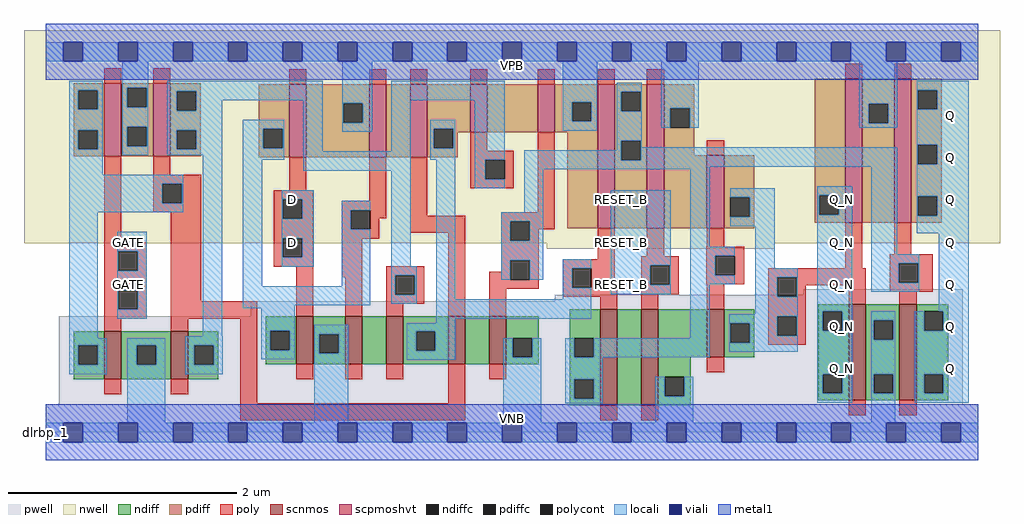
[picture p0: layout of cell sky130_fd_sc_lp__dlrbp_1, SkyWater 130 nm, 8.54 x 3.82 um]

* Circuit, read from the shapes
.subckt sky130_fd_sc_lp__dlrbp_1 D GATE RESET_B VGND VNB VPB VPWR Q Q_N
XM1 VGND GATE n1 VNB sky130_fd_pr__nfet_01v8 w=0.42 l=0.15
XM2 n2 n1 VGND VNB sky130_fd_pr__nfet_01v8 w=0.42 l=0.15
XM3 VGND D n3 VNB sky130_fd_pr__nfet_01v8 w=0.42 l=0.15
XM4 n4 n3 VGND VNB sky130_fd_pr__nfet_01v8 w=0.42 l=0.15
XM5 n5 n2 n4 VNB sky130_fd_pr__nfet_01v8 w=0.42 l=0.15
XM6 n6 n1 n5 VNB sky130_fd_pr__nfet_01v8 w=0.42 l=0.15
XM7 VGND n7 n6 VNB sky130_fd_pr__nfet_01v8 w=0.42 l=0.15
XM8 n8 n5 n7 VNB sky130_fd_pr__nfet_01v8 w=0.84 l=0.15
XM9 VGND RESET_B n8 VNB sky130_fd_pr__nfet_01v8 w=0.84 l=0.15
XM10 n9 n7 VGND VNB sky130_fd_pr__nfet_01v8 w=0.42 l=0.15
XM11 VGND n9 Q_N VNB sky130_fd_pr__nfet_01v8 w=0.84 l=0.15
XM12 Q n7 VGND VNB sky130_fd_pr__nfet_01v8 w=0.84 l=0.15
XM13 VPWR GATE n1 VPB sky130_fd_pr__pfet_01v8_hvt w=0.64 l=0.15
XM14 n2 n1 VPWR VPB sky130_fd_pr__pfet_01v8_hvt w=0.64 l=0.15
XM15 VPWR D n3 VPB sky130_fd_pr__pfet_01v8_hvt w=0.64 l=0.15
XM16 n10 n3 VPWR VPB sky130_fd_pr__pfet_01v8_hvt w=0.64 l=0.15
XM17 n5 n1 n10 VPB sky130_fd_pr__pfet_01v8_hvt w=0.64 l=0.15
XM18 n11 n2 n5 VPB sky130_fd_pr__pfet_01v8_hvt w=0.42 l=0.15
XM19 VPWR n7 n11 VPB sky130_fd_pr__pfet_01v8_hvt w=0.42 l=0.15
XM20 n7 n5 VPWR VPB sky130_fd_pr__pfet_01v8_hvt w=1.26 l=0.15
XM21 VPWR RESET_B n7 VPB sky130_fd_pr__pfet_01v8_hvt w=1.26 l=0.15
XM22 n9 n7 VPWR VPB sky130_fd_pr__pfet_01v8_hvt w=0.64 l=0.15
XM23 VPWR n9 Q_N VPB sky130_fd_pr__pfet_01v8_hvt w=1.26 l=0.15
XM24 Q n7 VPWR VPB sky130_fd_pr__pfet_01v8_hvt w=1.26 l=0.15
.ends

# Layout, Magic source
magic
tech sky130A
magscale 1 2
<< nwell >>
rect -38 331 1670 704
rect 877 321 1276 331
<< pwell >>
rect 1326 241 1605 250
rect 891 229 1605 241
rect 359 203 1605 229
rect 23 49 1605 203
rect 0 0 1632 49
<< scnmos >>
rect 102 93 132 177
rect 219 93 249 177
rect 438 119 468 203
rect 524 119 554 203
rect 596 119 626 203
rect 704 119 734 203
rect 776 119 806 203
rect 970 47 1000 215
rect 1042 47 1072 215
rect 1157 131 1187 215
rect 1405 56 1435 224
rect 1494 56 1524 224
<< scpmoshvt >>
rect 102 483 132 611
rect 188 483 218 611
rect 426 481 456 609
rect 566 481 596 609
rect 638 481 668 609
rect 743 525 773 609
rect 861 525 891 609
rect 966 357 996 609
rect 1052 357 1082 609
rect 1157 357 1187 485
rect 1399 367 1429 619
rect 1485 367 1515 619
<< ndiff >>
rect 49 152 102 177
rect 49 118 57 152
rect 91 118 102 152
rect 49 93 102 118
rect 132 152 219 177
rect 132 118 159 152
rect 193 118 219 152
rect 132 93 219 118
rect 249 152 302 177
rect 249 118 260 152
rect 294 118 302 152
rect 249 93 302 118
rect 385 178 438 203
rect 385 144 393 178
rect 427 144 438 178
rect 385 119 438 144
rect 468 172 524 203
rect 468 138 479 172
rect 513 138 524 172
rect 468 119 524 138
rect 554 119 596 203
rect 626 177 704 203
rect 626 143 648 177
rect 682 143 704 177
rect 626 119 704 143
rect 734 119 776 203
rect 806 165 863 203
rect 806 131 817 165
rect 851 131 863 165
rect 806 119 863 131
rect 917 165 970 215
rect 917 131 925 165
rect 959 131 970 165
rect 917 93 970 131
rect 917 59 925 93
rect 959 59 970 93
rect 917 47 970 59
rect 1000 47 1042 215
rect 1072 131 1157 215
rect 1187 191 1240 215
rect 1187 157 1198 191
rect 1232 157 1240 191
rect 1187 131 1240 157
rect 1352 212 1405 224
rect 1352 178 1360 212
rect 1394 178 1405 212
rect 1072 97 1129 131
rect 1072 63 1083 97
rect 1117 63 1129 97
rect 1072 47 1129 63
rect 1352 102 1405 178
rect 1352 68 1360 102
rect 1394 68 1405 102
rect 1352 56 1405 68
rect 1435 196 1494 224
rect 1435 162 1449 196
rect 1483 162 1494 196
rect 1435 102 1494 162
rect 1435 68 1449 102
rect 1483 68 1494 102
rect 1435 56 1494 68
rect 1524 212 1579 224
rect 1524 178 1537 212
rect 1571 178 1579 212
rect 1524 102 1579 178
rect 1524 68 1537 102
rect 1571 68 1579 102
rect 1524 56 1579 68
<< pdiff >>
rect 49 599 102 611
rect 49 565 57 599
rect 91 565 102 599
rect 49 529 102 565
rect 49 495 57 529
rect 91 495 102 529
rect 49 483 102 495
rect 132 603 188 611
rect 132 569 143 603
rect 177 569 188 603
rect 132 535 188 569
rect 132 501 143 535
rect 177 501 188 535
rect 132 483 188 501
rect 218 597 271 611
rect 218 563 229 597
rect 263 563 271 597
rect 218 529 271 563
rect 218 495 229 529
rect 263 495 271 529
rect 218 483 271 495
rect 373 531 426 609
rect 373 497 381 531
rect 415 497 426 531
rect 373 481 426 497
rect 456 576 566 609
rect 456 542 521 576
rect 555 542 566 576
rect 456 481 566 542
rect 596 481 638 609
rect 668 531 743 609
rect 668 497 679 531
rect 713 525 743 531
rect 773 525 861 609
rect 891 578 966 609
rect 891 544 921 578
rect 955 544 966 578
rect 891 525 966 544
rect 713 497 721 525
rect 668 481 721 497
rect 913 357 966 525
rect 996 596 1052 609
rect 996 562 1007 596
rect 1041 562 1052 596
rect 996 510 1052 562
rect 996 476 1007 510
rect 1041 476 1052 510
rect 996 357 1052 476
rect 1082 567 1135 609
rect 1082 533 1093 567
rect 1127 533 1135 567
rect 1082 485 1135 533
rect 1082 357 1157 485
rect 1187 411 1240 485
rect 1187 377 1198 411
rect 1232 377 1240 411
rect 1187 357 1240 377
rect 1346 415 1399 619
rect 1346 381 1354 415
rect 1388 381 1399 415
rect 1346 367 1399 381
rect 1429 575 1485 619
rect 1429 541 1440 575
rect 1474 541 1485 575
rect 1429 367 1485 541
rect 1515 599 1568 619
rect 1515 565 1526 599
rect 1560 565 1568 599
rect 1515 503 1568 565
rect 1515 469 1526 503
rect 1560 469 1568 503
rect 1515 413 1568 469
rect 1515 379 1526 413
rect 1560 379 1568 413
rect 1515 367 1568 379
<< ndiffc >>
rect 57 118 91 152
rect 159 118 193 152
rect 260 118 294 152
rect 393 144 427 178
rect 479 138 513 172
rect 648 143 682 177
rect 817 131 851 165
rect 925 131 959 165
rect 925 59 959 93
rect 1198 157 1232 191
rect 1360 178 1394 212
rect 1083 63 1117 97
rect 1360 68 1394 102
rect 1449 162 1483 196
rect 1449 68 1483 102
rect 1537 178 1571 212
rect 1537 68 1571 102
<< pdiffc >>
rect 57 565 91 599
rect 57 495 91 529
rect 143 569 177 603
rect 143 501 177 535
rect 229 563 263 597
rect 229 495 263 529
rect 381 497 415 531
rect 521 542 555 576
rect 679 497 713 531
rect 921 544 955 578
rect 1007 562 1041 596
rect 1007 476 1041 510
rect 1093 533 1127 567
rect 1198 377 1232 411
rect 1354 381 1388 415
rect 1440 541 1474 575
rect 1526 565 1560 599
rect 1526 469 1560 503
rect 1526 379 1560 413
<< poly >>
rect 102 611 132 637
rect 188 611 218 637
rect 426 609 456 635
rect 566 609 596 635
rect 638 609 668 635
rect 743 609 773 635
rect 861 609 891 635
rect 966 609 996 635
rect 1052 609 1082 635
rect 1399 619 1429 645
rect 1485 619 1515 645
rect 102 333 132 483
rect 188 451 218 483
rect 743 493 773 525
rect 188 435 272 451
rect 188 401 204 435
rect 238 401 272 435
rect 426 424 456 481
rect 188 385 272 401
rect 102 317 177 333
rect 102 283 127 317
rect 161 283 177 317
rect 102 249 177 283
rect 102 215 127 249
rect 161 215 177 249
rect 102 199 177 215
rect 219 229 272 385
rect 399 408 468 424
rect 399 374 415 408
rect 449 374 468 408
rect 566 405 596 481
rect 399 340 468 374
rect 399 306 415 340
rect 449 306 468 340
rect 399 290 468 306
rect 219 199 370 229
rect 438 203 468 290
rect 518 389 596 405
rect 518 355 534 389
rect 568 375 596 389
rect 638 379 668 481
rect 743 477 819 493
rect 743 443 769 477
rect 803 443 819 477
rect 743 427 819 443
rect 861 385 891 525
rect 568 355 584 375
rect 518 339 584 355
rect 638 349 734 379
rect 518 271 554 339
rect 524 203 554 271
rect 596 275 662 291
rect 596 241 612 275
rect 646 241 662 275
rect 596 225 662 241
rect 596 203 626 225
rect 704 203 734 349
rect 797 369 891 385
rect 797 335 813 369
rect 847 355 891 369
rect 1157 485 1187 511
rect 847 335 863 355
rect 797 301 863 335
rect 966 303 996 357
rect 1052 308 1082 357
rect 1157 325 1187 357
rect 1156 309 1222 325
rect 797 281 813 301
rect 776 267 813 281
rect 847 267 863 301
rect 776 251 863 267
rect 905 287 996 303
rect 905 253 921 287
rect 955 267 996 287
rect 1042 292 1108 308
rect 955 253 1000 267
rect 776 203 806 251
rect 905 237 1000 253
rect 970 215 1000 237
rect 1042 258 1058 292
rect 1092 258 1108 292
rect 1156 275 1172 309
rect 1206 275 1222 309
rect 1399 287 1429 367
rect 1485 312 1515 367
rect 1477 296 1552 312
rect 1156 259 1222 275
rect 1264 271 1435 287
rect 1042 242 1108 258
rect 1042 215 1072 242
rect 1157 215 1187 259
rect 1264 237 1280 271
rect 1314 257 1435 271
rect 1314 237 1330 257
rect 102 177 132 199
rect 219 177 249 199
rect 102 67 132 93
rect 219 67 249 93
rect 340 51 370 199
rect 438 93 468 119
rect 524 93 554 119
rect 596 93 626 119
rect 704 51 734 119
rect 776 93 806 119
rect 340 21 734 51
rect 1264 203 1330 237
rect 1405 224 1435 257
rect 1477 262 1493 296
rect 1527 262 1552 296
rect 1477 246 1552 262
rect 1494 224 1524 246
rect 1264 169 1280 203
rect 1314 169 1330 203
rect 1264 153 1330 169
rect 1157 105 1187 131
rect 970 21 1000 47
rect 1042 21 1072 47
rect 1405 30 1435 56
rect 1494 30 1524 56
<< polycont >>
rect 204 401 238 435
rect 127 283 161 317
rect 127 215 161 249
rect 415 374 449 408
rect 415 306 449 340
rect 534 355 568 389
rect 769 443 803 477
rect 612 241 646 275
rect 813 335 847 369
rect 813 267 847 301
rect 921 253 955 287
rect 1058 258 1092 292
rect 1172 275 1206 309
rect 1280 237 1314 271
rect 1493 262 1527 296
rect 1280 169 1314 203
<< locali >>
rect 0 649 31 683
rect 65 649 127 683
rect 161 649 223 683
rect 257 649 319 683
rect 353 649 415 683
rect 449 649 511 683
rect 545 649 607 683
rect 641 649 703 683
rect 737 649 799 683
rect 833 649 895 683
rect 929 649 991 683
rect 1025 649 1087 683
rect 1121 649 1183 683
rect 1217 649 1279 683
rect 1313 649 1375 683
rect 1409 649 1471 683
rect 1505 649 1567 683
rect 1601 649 1632 683
rect 41 599 100 615
rect 41 565 57 599
rect 91 565 100 599
rect 41 529 100 565
rect 41 495 57 529
rect 91 495 100 529
rect 41 451 100 495
rect 134 603 179 649
rect 134 569 143 603
rect 177 569 179 603
rect 134 535 179 569
rect 134 501 143 535
rect 177 501 179 535
rect 134 485 179 501
rect 213 597 485 615
rect 213 563 229 597
rect 263 581 485 597
rect 263 563 309 581
rect 213 529 309 563
rect 213 495 229 529
rect 263 495 309 529
rect 213 485 309 495
rect 41 435 241 451
rect 41 401 204 435
rect 238 401 241 435
rect 41 385 241 401
rect 41 165 91 385
rect 125 317 177 351
rect 125 283 127 317
rect 161 283 177 317
rect 125 249 177 283
rect 125 215 127 249
rect 161 215 177 249
rect 125 199 177 215
rect 275 168 309 485
rect 345 531 417 547
rect 345 497 381 531
rect 415 497 417 531
rect 345 477 417 497
rect 451 492 485 581
rect 519 576 571 649
rect 519 542 521 576
rect 555 542 571 576
rect 519 526 571 542
rect 605 581 803 615
rect 605 492 639 581
rect 345 256 379 477
rect 451 458 639 492
rect 673 531 717 547
rect 673 497 679 531
rect 713 497 717 531
rect 673 477 717 497
rect 413 408 469 424
rect 413 374 415 408
rect 449 374 469 408
rect 413 340 469 374
rect 413 306 415 340
rect 449 306 469 340
rect 413 290 469 306
rect 518 389 568 405
rect 518 355 534 389
rect 518 256 568 355
rect 345 222 568 256
rect 605 291 639 458
rect 605 275 649 291
rect 605 241 612 275
rect 646 241 649 275
rect 605 225 649 241
rect 683 233 717 477
rect 751 477 803 581
rect 905 578 965 649
rect 905 544 921 578
rect 955 544 965 578
rect 905 528 965 544
rect 999 596 1043 612
rect 999 562 1007 596
rect 1041 562 1043 596
rect 999 510 1043 562
rect 1077 567 1143 649
rect 1077 533 1093 567
rect 1127 533 1143 567
rect 1424 575 1490 649
rect 1424 541 1440 575
rect 1474 541 1490 575
rect 1424 533 1490 541
rect 1524 599 1615 615
rect 1524 565 1526 599
rect 1560 565 1615 599
rect 999 494 1007 510
rect 751 443 769 477
rect 751 427 803 443
rect 837 476 1007 494
rect 1041 499 1043 510
rect 1524 503 1615 565
rect 1041 476 1490 499
rect 837 465 1490 476
rect 837 460 1162 465
rect 837 385 871 460
rect 797 369 871 385
rect 797 335 813 369
rect 847 335 871 369
rect 797 301 871 335
rect 797 267 813 301
rect 847 267 871 301
rect 905 287 955 303
rect 905 253 921 287
rect 905 233 955 253
rect 989 292 1094 424
rect 989 258 1058 292
rect 1092 258 1094 292
rect 989 242 1094 258
rect 1128 325 1162 460
rect 1198 411 1276 427
rect 1232 377 1276 411
rect 1198 361 1276 377
rect 1128 309 1206 325
rect 1128 275 1172 309
rect 1128 259 1206 275
rect 1242 287 1276 361
rect 1350 415 1411 431
rect 1350 381 1354 415
rect 1388 381 1411 415
rect 1242 271 1316 287
rect 345 217 436 222
rect 377 178 436 217
rect 683 199 955 233
rect 683 191 717 199
rect 41 152 107 165
rect 41 118 57 152
rect 91 118 107 152
rect 41 102 107 118
rect 143 152 209 165
rect 143 118 159 152
rect 193 118 209 152
rect 143 17 209 118
rect 244 152 310 168
rect 244 118 260 152
rect 294 118 310 152
rect 377 144 393 178
rect 427 144 436 178
rect 377 128 436 144
rect 470 172 529 188
rect 470 138 479 172
rect 513 138 529 172
rect 244 102 310 118
rect 470 17 529 138
rect 632 177 717 191
rect 632 143 648 177
rect 682 143 717 177
rect 1128 165 1162 259
rect 1242 237 1280 271
rect 1314 237 1316 271
rect 1242 207 1316 237
rect 632 127 717 143
rect 801 131 817 165
rect 851 131 867 165
rect 801 17 867 131
rect 909 131 925 165
rect 959 131 1162 165
rect 1196 203 1316 207
rect 1196 191 1280 203
rect 1196 157 1198 191
rect 1232 169 1280 191
rect 1314 169 1316 203
rect 1232 157 1316 169
rect 1196 141 1316 157
rect 1350 212 1411 381
rect 1445 312 1490 465
rect 1524 469 1526 503
rect 1560 469 1615 503
rect 1524 413 1615 469
rect 1524 379 1526 413
rect 1560 379 1615 413
rect 1524 348 1615 379
rect 1445 296 1529 312
rect 1445 262 1493 296
rect 1527 262 1529 296
rect 1445 246 1529 262
rect 1563 212 1615 348
rect 1350 178 1360 212
rect 1394 178 1411 212
rect 909 93 975 131
rect 1350 102 1411 178
rect 909 59 925 93
rect 959 59 975 93
rect 909 51 975 59
rect 1067 63 1083 97
rect 1117 63 1133 97
rect 1067 17 1133 63
rect 1350 68 1360 102
rect 1394 68 1411 102
rect 1350 52 1411 68
rect 1445 196 1487 212
rect 1445 162 1449 196
rect 1483 162 1487 196
rect 1445 102 1487 162
rect 1445 68 1449 102
rect 1483 68 1487 102
rect 1445 17 1487 68
rect 1521 178 1537 212
rect 1571 178 1615 212
rect 1521 102 1615 178
rect 1521 68 1537 102
rect 1571 68 1615 102
rect 1521 52 1615 68
rect 0 -17 31 17
rect 65 -17 127 17
rect 161 -17 223 17
rect 257 -17 319 17
rect 353 -17 415 17
rect 449 -17 511 17
rect 545 -17 607 17
rect 641 -17 703 17
rect 737 -17 799 17
rect 833 -17 895 17
rect 929 -17 991 17
rect 1025 -17 1087 17
rect 1121 -17 1183 17
rect 1217 -17 1279 17
rect 1313 -17 1375 17
rect 1409 -17 1471 17
rect 1505 -17 1567 17
rect 1601 -17 1632 17
<< viali >>
rect 31 649 65 683
rect 127 649 161 683
rect 223 649 257 683
rect 319 649 353 683
rect 415 649 449 683
rect 511 649 545 683
rect 607 649 641 683
rect 703 649 737 683
rect 799 649 833 683
rect 895 649 929 683
rect 991 649 1025 683
rect 1087 649 1121 683
rect 1183 649 1217 683
rect 1279 649 1313 683
rect 1375 649 1409 683
rect 1471 649 1505 683
rect 1567 649 1601 683
rect 31 -17 65 17
rect 127 -17 161 17
rect 223 -17 257 17
rect 319 -17 353 17
rect 415 -17 449 17
rect 511 -17 545 17
rect 607 -17 641 17
rect 703 -17 737 17
rect 799 -17 833 17
rect 895 -17 929 17
rect 991 -17 1025 17
rect 1087 -17 1121 17
rect 1183 -17 1217 17
rect 1279 -17 1313 17
rect 1375 -17 1409 17
rect 1471 -17 1505 17
rect 1567 -17 1601 17
<< metal1 >>
rect 0 683 1632 715
rect 0 649 31 683
rect 65 649 127 683
rect 161 649 223 683
rect 257 649 319 683
rect 353 649 415 683
rect 449 649 511 683
rect 545 649 607 683
rect 641 649 703 683
rect 737 649 799 683
rect 833 649 895 683
rect 929 649 991 683
rect 1025 649 1087 683
rect 1121 649 1183 683
rect 1217 649 1279 683
rect 1313 649 1375 683
rect 1409 649 1471 683
rect 1505 649 1567 683
rect 1601 649 1632 683
rect 0 617 1632 649
rect 0 17 1632 49
rect 0 -17 31 17
rect 65 -17 127 17
rect 161 -17 223 17
rect 257 -17 319 17
rect 353 -17 415 17
rect 449 -17 511 17
rect 545 -17 607 17
rect 641 -17 703 17
rect 737 -17 799 17
rect 833 -17 895 17
rect 929 -17 991 17
rect 1025 -17 1087 17
rect 1121 -17 1183 17
rect 1217 -17 1279 17
rect 1313 -17 1375 17
rect 1409 -17 1471 17
rect 1505 -17 1567 17
rect 1601 -17 1632 17
rect 0 -49 1632 -17
<< labels >>
flabel pwell s 0 0 1632 49 0 FreeSans 200 0 0 0 VNB
port 5 nsew ground bidirectional
flabel nwell s 0 617 1632 666 0 FreeSans 200 0 0 0 VPB
port 6 nsew power bidirectional
rlabel comment s 0 0 0 0 4 dlrbp_1
flabel metal1 s 0 617 1632 666 0 FreeSans 340 0 0 0 VPWR
port 7 nsew power bidirectional
flabel metal1 s 0 0 1632 49 0 FreeSans 340 0 0 0 VGND
port 4 nsew ground bidirectional
flabel locali s 415 316 449 350 0 FreeSans 340 0 0 0 D
port 1 nsew signal input
flabel locali s 415 390 449 424 0 FreeSans 340 0 0 0 D
port 1 nsew signal input
flabel locali s 127 242 161 276 0 FreeSans 340 0 0 0 GATE
port 2 nsew clock input
flabel locali s 127 316 161 350 0 FreeSans 340 0 0 0 GATE
port 2 nsew clock input
flabel locali s 991 242 1025 276 0 FreeSans 340 0 0 0 RESET_B
port 3 nsew signal input
flabel locali s 991 316 1025 350 0 FreeSans 340 0 0 0 RESET_B
port 3 nsew signal input
flabel locali s 991 390 1025 424 0 FreeSans 340 0 0 0 RESET_B
port 3 nsew signal input
flabel locali s 1375 94 1409 128 0 FreeSans 340 0 0 0 Q_N
port 9 nsew signal output
flabel locali s 1375 168 1409 202 0 FreeSans 340 0 0 0 Q_N
port 9 nsew signal output
flabel locali s 1375 242 1409 276 0 FreeSans 340 0 0 0 Q_N
port 9 nsew signal output
flabel locali s 1375 316 1409 350 0 FreeSans 340 0 0 0 Q_N
port 9 nsew signal output
flabel locali s 1375 390 1409 424 0 FreeSans 340 0 0 0 Q_N
port 9 nsew signal output
flabel locali s 1567 94 1601 128 0 FreeSans 340 0 0 0 Q
port 8 nsew signal output
flabel locali s 1567 168 1601 202 0 FreeSans 340 0 0 0 Q
port 8 nsew signal output
flabel locali s 1567 242 1601 276 0 FreeSans 340 0 0 0 Q
port 8 nsew signal output
flabel locali s 1567 316 1601 350 0 FreeSans 340 0 0 0 Q
port 8 nsew signal output
flabel locali s 1567 390 1601 424 0 FreeSans 340 0 0 0 Q
port 8 nsew signal output
flabel locali s 1567 464 1601 498 0 FreeSans 340 0 0 0 Q
port 8 nsew signal output
flabel locali s 1567 538 1601 572 0 FreeSans 340 0 0 0 Q
port 8 nsew signal output
<< properties >>
string LEFsite unit
string LEFclass CORE
string FIXED_BBOX 0 0 1632 666
string GDS_FILE $PDKPATH/libs.ref/sky130_fd_sc_lp/gds/sky130_fd_sc_lp.gds
string LEFsymmetry X Y R90
string GDS_END 4305804
string GDS_START 4292276
<< end >>
